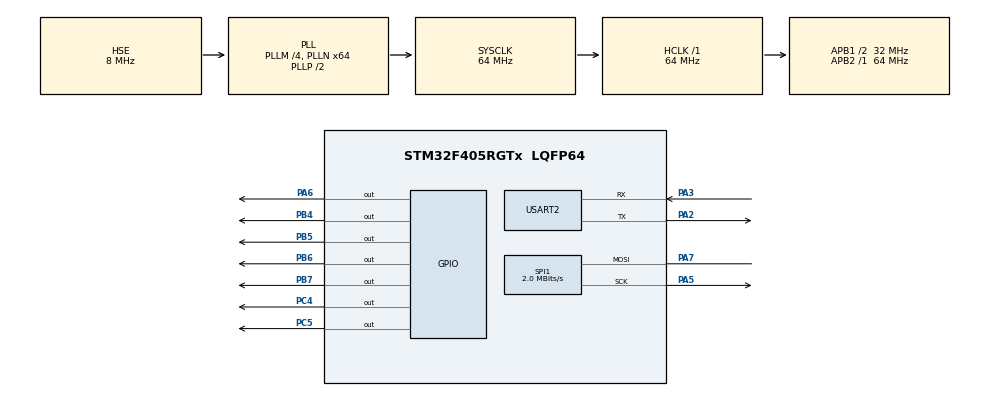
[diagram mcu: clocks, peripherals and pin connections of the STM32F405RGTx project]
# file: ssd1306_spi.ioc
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Dma.MEMTOMEM.1.Direction=DMA_MEMORY_TO_MEMORY
Dma.MEMTOMEM.1.FIFOMode=DMA_FIFOMODE_ENABLE
Dma.MEMTOMEM.1.FIFOThreshold=DMA_FIFO_THRESHOLD_FULL
Dma.MEMTOMEM.1.Instance=DMA2_Stream0
Dma.MEMTOMEM.1.MemBurst=DMA_MBURST_SINGLE
Dma.MEMTOMEM.1.MemDataAlignment=DMA_MDATAALIGN_BYTE
Dma.MEMTOMEM.1.MemInc=DMA_MINC_ENABLE
Dma.MEMTOMEM.1.Mode=DMA_NORMAL
Dma.MEMTOMEM.1.PeriphBurst=DMA_PBURST_SINGLE
Dma.MEMTOMEM.1.PeriphDataAlignment=DMA_PDATAALIGN_BYTE
Dma.MEMTOMEM.1.PeriphInc=DMA_PINC_ENABLE
Dma.MEMTOMEM.1.Priority=DMA_PRIORITY_LOW
Dma.Request0=SPI1_TX
Dma.Request1=MEMTOMEM
Dma.SPI1_TX.0.Direction=DMA_MEMORY_TO_PERIPH
Dma.SPI1_TX.0.FIFOMode=DMA_FIFOMODE_DISABLE
Dma.SPI1_TX.0.Instance=DMA2_Stream3
Dma.SPI1_TX.0.MemDataAlignment=DMA_MDATAALIGN_BYTE
Dma.SPI1_TX.0.MemInc=DMA_MINC_ENABLE
Dma.SPI1_TX.0.Mode=DMA_NORMAL
Dma.SPI1_TX.0.PeriphDataAlignment=DMA_PDATAALIGN_BYTE
Dma.SPI1_TX.0.PeriphInc=DMA_PINC_DISABLE
Dma.SPI1_TX.0.Priority=DMA_PRIORITY_LOW
Mcu.Family=STM32F4
Mcu.Name=STM32F405RGTx
Mcu.Package=LQFP64
NVIC.DMA2_Stream3_IRQn=true\:0\:0\:false\:false\:true\:false\:true
NVIC.PriorityGroup=NVIC_PRIORITYGROUP_4
NVIC.SPI1_IRQn=true\:0\:0\:false\:false\:true\:true\:true
NVIC.USART2_IRQn=true\:0\:0\:false\:false\:true\:true\:true
PA13.Mode=Serial_Wire
PA13.Signal=SYS_JTMS-SWDIO
PA14.Mode=Serial_Wire
PA14.Signal=SYS_JTCK-SWCLK
PA2.Mode=Asynchronous
PA2.Signal=USART2_TX
PA3.Mode=Asynchronous
PA3.Signal=USART2_RX
PA5.Mode=Simplex_Bidirectional_Master
PA5.Signal=SPI1_SCK
PA6.Signal=GPIO_Output
PA7.Mode=Simplex_Bidirectional_Master
PA7.Signal=SPI1_MOSI
PB4.Signal=GPIO_Output
PB5.Signal=GPIO_Output
PB6.Signal=GPIO_Output
PB7.Signal=GPIO_Output
PC4.Signal=GPIO_Output
PC5.Signal=GPIO_Output
PH0-OSC_IN.Mode=HSE-External-Oscillator
PH0-OSC_IN.Signal=RCC_OSC_IN
PH1-OSC_OUT.Mode=HSE-External-Oscillator
PH1-OSC_OUT.Signal=RCC_OSC_OUT
ProjectManager.HeapSize=0x200
ProjectManager.StackSize=0x400
ProjectManager.TargetToolchain=Makefile
RCC.48MHZClocksFreq_Value=32000000
RCC.AHBFreq_Value=64000000
RCC.APB1CLKDivider=RCC_HCLK_DIV2
RCC.APB1Freq_Value=32000000
RCC.APB1TimFreq_Value=64000000
RCC.APB2Freq_Value=64000000
RCC.APB2TimFreq_Value=64000000
RCC.CortexFreq_Value=64000000
RCC.HCLKFreq_Value=64000000
RCC.HSE_VALUE=8000000
RCC.HSI_VALUE=16000000
RCC.LSE_VALUE=32768
RCC.PLLM=4
RCC.PLLN=64
RCC.PLLSourceVirtual=RCC_PLLSOURCE_HSE
RCC.SYSCLKFreq_VALUE=64000000
RCC.SYSCLKSource=RCC_SYSCLKSOURCE_PLLCLK
RCC.VCOOutputFreq_Value=128000000
SPI1.BaudRatePrescaler=SPI_BAUDRATEPRESCALER_32
SPI1.CLKPhase=SPI_PHASE_2EDGE
SPI1.CLKPolarity=SPI_POLARITY_HIGH
SPI1.CalculateBaudRate=2.0 MBits/s
SPI1.Direction=SPI_DIRECTION_1LINE
SPI1.FirstBit=SPI_FIRSTBIT_MSB
SPI1.Mode=SPI_MODE_MASTER
SPI1.VirtualType=VM_MASTER
USART2.VirtualMode=VM_ASYNC
board=custom

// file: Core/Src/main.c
/* USER CODE BEGIN Header */
/**
 ******************************************************************************
 * @file           : main.c
 * @brief          : Main program body
 ******************************************************************************
 * @attention
 *
 * <h2><center>&copy; Copyright (c) 2022 STMicroelectronics.
 * All rights reserved.</center></h2>
 *
 * This software component is licensed by ST under BSD 3-Clause license,
 * the "License"; You may not use this file except in compliance with the
 * License. You may obtain a copy of the License at:
 *                        opensource.org/licenses/BSD-3-Clause
 *
 ******************************************************************************
 */
/* USER CODE END Header */
#include "main.h"
#include "dma.h"
#include "spi.h"
#include "usart.h"
#include "gpio.h"

/* USER CODE BEGIN Includes */
#include "ssd1306.h"
/* USER CODE END Includes */

/* USER CODE BEGIN PM */
#define spi_cs GPIOC, GPIO_PIN_5
#define spi_dc GPIOC, GPIO_PIN_4
#define spi_res GPIOA, GPIO_PIN_6
#define spi_d1 GPIOA, GPIO_PIN_7
#define spi_d0 GPIOA, GPIO_PIN_5

/* USER CODE END PM */

void SystemClock_Config(void);

int main(void)
{

  /* MCU Configuration--------------------------------------------------------*/

  /* Reset of all peripherals, Initializes the Flash interface and the Systick. */
  HAL_Init();

  /* Configure the system clock */
  SystemClock_Config();

  /* Initialize all configured peripherals */
  MX_GPIO_Init();
  MX_DMA_Init();
  MX_SPI1_Init();
  MX_USART2_UART_Init();
  /* USER CODE BEGIN 2 */

    HAL_GPIO_WritePin(GPIOB, GPIO_PIN_7, 1);
    HAL_GPIO_WritePin(GPIOB, GPIO_PIN_6, 1);
    HAL_GPIO_WritePin(GPIOB, GPIO_PIN_5, 1);
    HAL_GPIO_WritePin(GPIOB, GPIO_PIN_4, 1);

    ssd1306_init();

    // fill_white();
    // HAL_Delay(2000);
    clean_screen();
    HAL_Delay(2000);

    // oled_print(5, 50);
    // oled_print(30, 60);
    oled_print_str(0, 0, "abc");
    oled_print_str(29, 20, "Hello world!");

    uint8_t text[] = "hello world\n";

    uint16_t ticks = HAL_GetTick();
  /* USER CODE END 2 */

  /* Infinite loop */
    while (1)
    {

    /* USER CODE BEGIN 3 */
        HAL_UART_Transmit_DMA(&huart2, (uint8_t *)text, sizeof(text));

        if (HAL_GetTick() - ticks > 1000)
        {
            HAL_GPIO_TogglePin(GPIOB, GPIO_PIN_7);
            ticks = HAL_GetTick();
        }
    }
  /* USER CODE END 3 */
}

void SystemClock_Config(void)
{
  RCC_OscInitTypeDef RCC_OscInitStruct = {0};
  RCC_ClkInitTypeDef RCC_ClkInitStruct = {0};

  /** Configure the main internal regulator output voltage
  */
  __HAL_RCC_PWR_CLK_ENABLE();
  __HAL_PWR_VOLTAGESCALING_CONFIG(PWR_REGULATOR_VOLTAGE_SCALE1);
  /** Initializes the RCC Oscillators according to the specified parameters
  * in the RCC_OscInitTypeDef structure.
  */
  RCC_OscInitStruct.OscillatorType = RCC_OSCILLATORTYPE_HSE;
  RCC_OscInitStruct.HSEState = RCC_HSE_ON;
  RCC_OscInitStruct.PLL.PLLState = RCC_PLL_ON;
  RCC_OscInitStruct.PLL.PLLSource = RCC_PLLSOURCE_HSE;
  RCC_OscInitStruct.PLL.PLLM = 4;
  RCC_OscInitStruct.PLL.PLLN = 64;
  RCC_OscInitStruct.PLL.PLLP = RCC_PLLP_DIV2;
  RCC_OscInitStruct.PLL.PLLQ = 4;
  if (HAL_RCC_OscConfig(&RCC_OscInitStruct) != HAL_OK)
  {
    Error_Handler();
  }
  /** Initializes the CPU, AHB and APB buses clocks
  */
  RCC_ClkInitStruct.ClockType = RCC_CLOCKTYPE_HCLK|RCC_CLOCKTYPE_SYSCLK
                              |RCC_CLOCKTYPE_PCLK1|RCC_CLOCKTYPE_PCLK2;
  RCC_ClkInitStruct.SYSCLKSource = RCC_SYSCLKSOURCE_PLLCLK;
  RCC_ClkInitStruct.AHBCLKDivider = RCC_SYSCLK_DIV1;
  RCC_ClkInitStruct.APB1CLKDivider = RCC_HCLK_DIV2;
  RCC_ClkInitStruct.APB2CLKDivider = RCC_HCLK_DIV1;

  if (HAL_RCC_ClockConfig(&RCC_ClkInitStruct, FLASH_LATENCY_2) != HAL_OK)
  {
    Error_Handler();
  }
}

void Error_Handler(void)
{
    __disable_irq();
    while (1)
    {
    }
}

/************************ (C) COPYRIGHT STMicroelectronics *****END OF FILE****/
